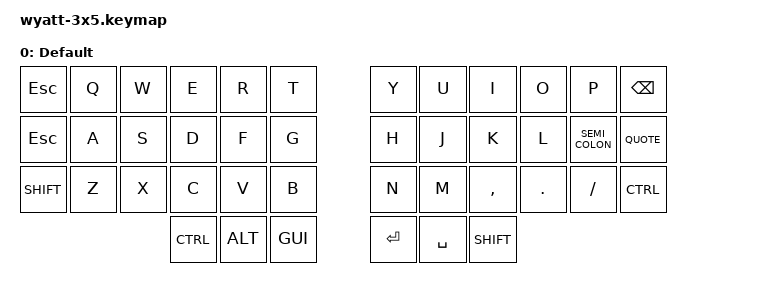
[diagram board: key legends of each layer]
#include <behaviors.dtsi>
#include <dt-bindings/zmk/keys.h>
#include <dt-bindings/zmk/bt.h>

/ {
        keymap {
                compatible = "zmk,keymap";
                label = "wyatt-3x5";
                default_layer {
                label = "Default";
                	bindings = <
               &kp ESC   &kp Q    &kp W   &kp E     &kp R     &kp T     &kp Y     &kp U     &kp I      &kp O      &kp P          &kp BACKSPACE
               &kp ESC   &kp A    &kp S   &kp D     &kp F     &kp G     &kp H     &kp J     &kp K      &kp L      &kp SEMI_COLON &kp QUOTE
               &kp SHIFT &kp Z   &kp X    &kp C     &kp V     &kp B     &kp N     &kp M     &kp COMMA  &kp PERIOD &kp SLASH      &kp CTRL
                                                    &kp CTRL &kp ALT &kp GUI   &kp ENTER &kp SPACE &kp SHIFT
                        >;
                };
        };
};


